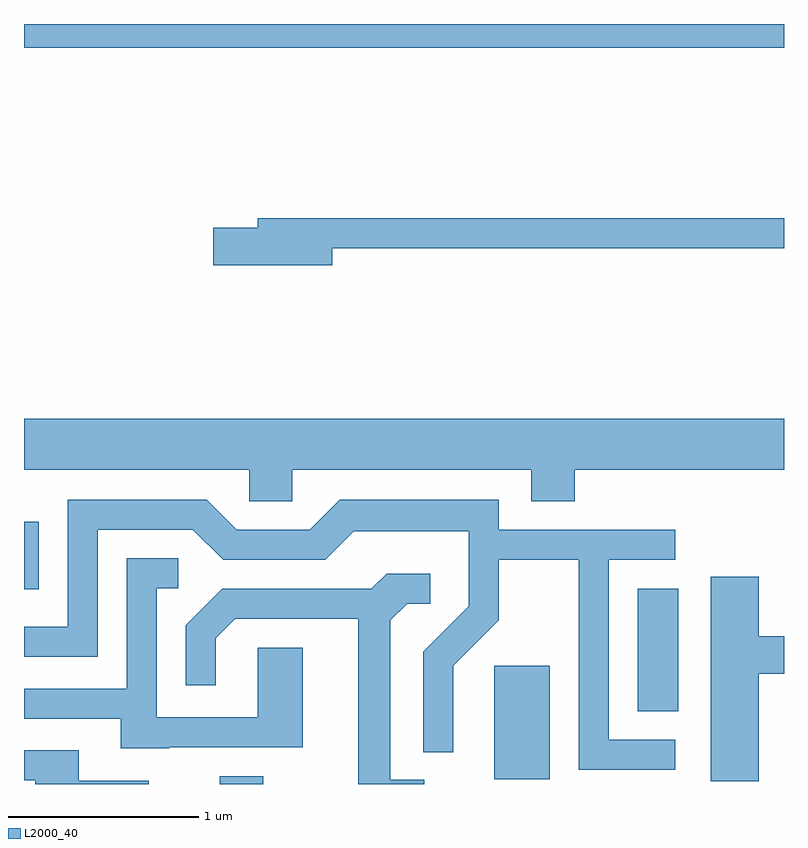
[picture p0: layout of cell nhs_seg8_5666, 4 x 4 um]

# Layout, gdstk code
import gdstk
lib = gdstk.Library(unit=1e-6, precision=1e-09)
def R(c, l, rs):  # rectangles x0, y0, x1, y1
    for r in rs: c.add(gdstk.rectangle(r[:2], r[2:], *l))
def P(c, l, *ps):  # polygons
    for p in ps: c.add(gdstk.Polygon(p, *l))
L2000_40 = (2000, 40)

nhs_seg8_5666 = lib.new_cell('nhs_seg8_5666')
R(nhs_seg8_5666, L2000_40, [(356.641,1810.342,356.869,1810.384), (358.086,1810.366,358.379,1810.964), (358.841,1810.726,359.054,1811.369), (355.611,1811.366,355.689,1811.723), (355.611,1814.216,359.611,1814.342)])
P(nhs_seg8_5666, L2000_40, [(357.234,1813.161),(359.611,1813.161),(359.611,1813.319),(356.841,1813.319),(356.841,1813.269),(356.606,1813.269),(356.606,1813.071),(357.234,1813.071)],
  [(357.024,1811.996),(358.281,1811.996),(358.281,1811.831),(358.509,1811.831),(358.509,1811.996),(359.611,1811.996),(359.611,1812.264),(355.611,1812.264),(355.611,1811.996),(356.796,1811.996),(356.796,1811.831),(357.024,1811.831)],
  [(359.038,1810.574),(358.689,1810.574),(358.689,1811.521),(359.038,1811.521),(359.038,1811.679),(358.109,1811.679),(358.109,1811.839),(357.274,1811.839),(357.114,1811.679),(356.732,1811.679),(356.572,1811.839),(355.841,1811.839),(355.841,1811.169),(355.611,1811.169),(355.611,1811.011),(355.999,1811.011),(355.999,1811.681),(356.499,1811.681),(356.659,1811.521),(357.197,1811.521),(357.347,1811.671),(357.951,1811.671),(357.951,1811.277),(357.711,1811.037),(357.711,1810.508),(357.869,1810.508),(357.869,1810.964),(358.109,1811.204),(358.109,1811.521),(358.531,1811.521),(358.531,1810.416),(359.038,1810.416)],
  [(356.375,1810.536),(357.079,1810.536),(357.079,1811.059),(356.841,1811.059),(356.841,1810.694),(356.309,1810.694),(356.309,1811.371),(356.423,1811.371),(356.423,1811.529),(356.151,1811.529),(356.151,1810.844),(355.611,1810.844),(355.611,1810.686),(356.121,1810.686),(356.121,1810.531),(356.375,1810.531)],
  [(357.718,1810.364),(357.539,1810.364),(357.539,1811.204),(357.627,1811.291),(357.748,1811.291),(357.748,1811.449),(357.519,1811.449),(357.439,1811.369),(356.654,1811.369),(356.461,1811.177),(356.461,1810.863),(356.619,1810.863),(356.619,1811.109),(356.722,1811.211),(357.371,1811.211),(357.371,1810.342),(357.718,1810.342)],
  [(359.479,1810.921),(359.611,1810.921),(359.611,1811.119),(359.479,1811.119),(359.479,1811.434),(359.226,1811.434),(359.226,1810.356),(359.479,1810.356)],
  [(356.268,1810.359),(355.899,1810.359),(355.899,1810.519),(355.611,1810.519),(355.611,1810.361),(355.671,1810.361),(355.671,1810.342),(356.268,1810.342)])

lib.write_gds('nhs_seg8_5666.gds')
